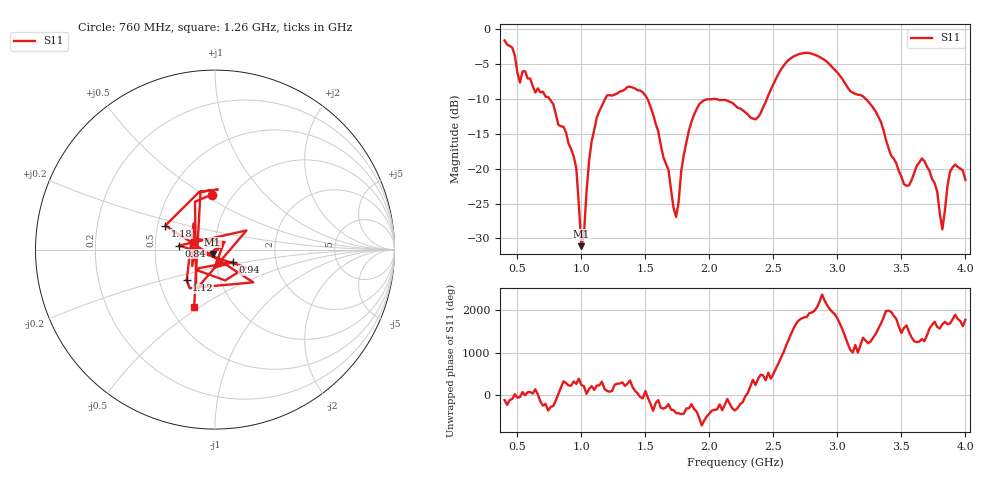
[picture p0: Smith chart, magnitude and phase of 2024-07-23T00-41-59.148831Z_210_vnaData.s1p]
!Created with skrf (http://scikit-rf.org).
# Hz S RI R 50.0
!freq ReS11 ImS11
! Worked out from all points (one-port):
!   181 points, 400 MHz to 4 GHz, reference 50 ohm
!   lowest |S11| = -31.1 dB at 1 GHz (marker M1), VSWR 1.06, Z = 48.6 - j2.35 ohm
!   |S11| at or under -10 dB: 749.4 MHz to 1.187 GHz (437.6 MHz wide, 45.2 % of centre); 1.514 GHz to 2.45 GHz (935.8 MHz wide, 47.2 % of centre); 3.219 GHz to end of sweep
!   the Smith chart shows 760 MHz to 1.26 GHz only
!   S11 on the Smith chart (normalised r, x): 760 MHz: 0.80, +0.54; 840 MHz: 0.67, +0.03; 940 MHz: 1.21, -0.17; 1.12 GHz: 0.69, -0.25; 1.18 GHz: 0.55, +0.16; 1.26 GHz: 0.66, -0.47
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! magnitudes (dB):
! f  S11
! 400 MHz  -1.7
! 520 MHz  -7.7
! 760 MHz  -10.3
! 840 MHz  -13.9
! 860 MHz  -14.0
! 940 MHz  -18.3
! 960 MHz  -19.9
! 1 GHz  -31.1
! 1.06 GHz  -18.9
! 1.12 GHz  -12.7
! 1.18 GHz  -10.2
! 1.26 GHz  -9.4
! 1.3 GHz  -9.0
! 1.52 GHz  -10.2
! 1.74 GHz  -26.9
! 1.76 GHz  -24.7
! 1.82 GHz  -16.3
! 1.92 GHz  -10.8
! 2.2 GHz  -10.9
! 2.36 GHz  -13.0
! 2.66 GHz  -3.9
! 3.1 GHz  -8.9
! 3.3 GHz  -11.9
! 3.56 GHz  -22.4
! 3.68 GHz  -18.9
! 3.82 GHz  -28.7
! 3.88 GHz  -20.4
! 4 GHz  -21.6
